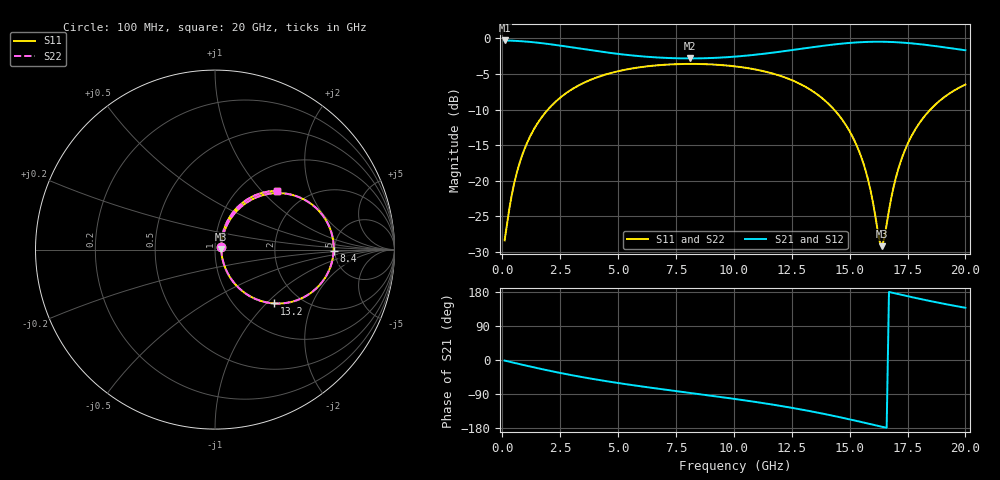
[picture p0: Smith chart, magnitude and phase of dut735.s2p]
! Touchstone file exported from HFSS 2026.1.0
!  File:  C:/ffzhzh/LocalFiles/Ansys_Project_Files/temp_train_TSV_RDL_735_1783203589_55132.aedt
!  Generated:  06:35:57 AM Jul  5, 2026
!  Design:  TSV_RDL
!  Project:  temp_train_TSV_RDL_735_1783203589_55132
! Variables:
!  h_bsmrdl = 5.73um
!  h_ox = 20um
!  h_rdl = 5um
!  h_sub = 95.54um
!  h_tmrdl = 2.88um
!  h_tsv = 95.54um
!  h_via = 3um
!  l_bsmrdl = 598.21um
!  l_sub = 3412.08um
!  l_tmrdl = 282.53um
!  m_sub = 200um
!  pitch = 52.66um
!  r_tsv = 2.15um
!  s_tmrdl = 10um
!  w_bsmrdl = 18.8um
!  w_sub = 500um
!  w_tmrdl = 10.31um
!  x_tsv_center1 = 287.685um
!  x_tsv_center2 = 904.695um
!  x_tsv_center3 = 1197.535um
!  x_tsv_center4 = 1814.545um
!  x_tsv_center5 = 2107.385um
!  x_tsv_center6 = 2724.395um
# GHz S MA R 50.000000
! Terminal data exported
! Port[1] = TM_RDL1_1_T1
! Port[2] = TM_RDL5_1_T1
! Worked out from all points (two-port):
!   200 points, 100 MHz to 20 GHz, reference 50 ohm
!   highest |S21| = -0.30 dB at 100 MHz (marker M1); lowest = -2.8 dB at 8.1 GHz (marker M2)
!   |S21| within 3 dB of the highest: start of sweep to end of sweep
!   lowest |S11| = -29.2 dB at 16.4 GHz (marker M3), VSWR 1.07, Z = 53.6 + j0.429 ohm
!   |S11| at or under -10 dB: start of sweep to 1.97 GHz; 14.33 GHz to 18.49 GHz (4.157 GHz wide, 25.3 % of centre)
!   |S22| runs from -29.1 to -3.6 dB; largest |S21 - S12| = 5e-14
!   S11 on the Smith chart (normalised r, x): 100 MHz: 1.07, +0.04; 8.4 GHz: 4.89, -0.14; 13.2 GHz: 1.49, -1.12; 20 GHz: 1.44, +1.21
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0.1  0.0382 26.4  0.9661 -1.5  0.9661 -1.5  0.0382 26.4
! Gamma 0 0 0 0
! Port Impedance 50 0 50 0
0.4  0.07822 57.8  0.9628 -5.9  0.9628 -5.9  0.07822 57.8
0.6  0.1097 62.6  0.9592 -8.8  0.9592 -8.8  0.1097 62.6
1.2  0.2047 62.8  0.9435 -17.2  0.9435 -17.2  0.2047 62.8
2.2  0.3464 53.7  0.9031 -30.4  0.9031 -30.4  0.3464 53.7
3.5  0.4856 40.3  0.8404 -45.7  0.8404 -45.7  0.4856 40.3
6.8  0.6487 11.6  0.7323 -76.3  0.7323 -76.3  0.6487 11.6
8.1  0.6614 1.6  0.7226 -86.8  0.7226 -86.8  0.6614 1.6
8.4  0.661 -0.7  0.7231 -89.2  0.7231 -89.2  0.6609 -0.7
10.1  0.6343 -14.0  0.745 -103.3  0.745 -103.3  0.6343 -14.0
13.2  0.4466 -42.2  0.8575 -133.9  0.8575 -133.9  0.4466 -42.2
13.4  0.4262 -44.3  0.8665 -136.2  0.8665 -136.2  0.4262 -44.3
14.5  0.2934 -55.5  0.9121 -150.0  0.9121 -150.0  0.2934 -55.4
15.3  0.1778 -61.5  0.936 -160.8  0.936 -160.8  0.1778 -61.4
15.8  0.1013 -59.5  0.9443 -167.7  0.9443 -167.7  0.1014 -59.4
16.3  0.03732 -18.0  0.9466 -174.8  0.9466 -174.8  0.03748 -17.8
16.4  0.0348 6.6  0.9463 -176.2  0.9463 -176.2  0.03498 6.6
16.7  0.06213 54.2  0.9439 179.5  0.9439 179.5  0.06224 54.1
17.2  0.1358 66.5  0.9352 172.5  0.9352 172.5  0.1358 66.5
17.8  0.2242 64.5  0.9179 164.4  0.9179 164.4  0.2243 64.5
18.7  0.3424 56.4  0.8823 152.8  0.8823 152.8  0.3424 56.4
20  0.4737 43.6  0.8244 137.8  0.8244 137.8  0.4737 43.6
